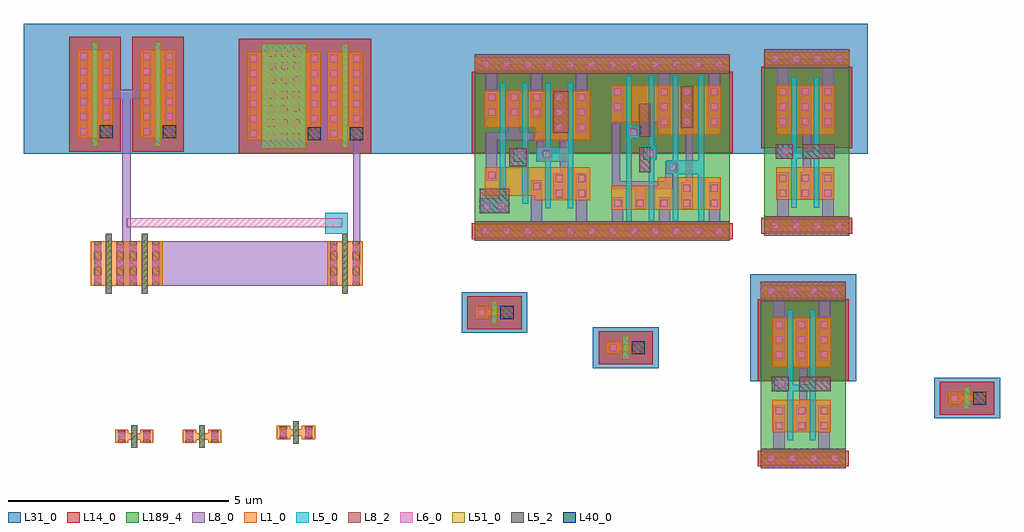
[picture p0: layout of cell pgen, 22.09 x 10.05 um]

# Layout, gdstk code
import gdstk
lib = gdstk.Library(unit=1e-6, precision=1e-09)
def R(c, l, rs):  # rectangles x0, y0, x1, y1
    for r in rs: c.add(gdstk.rectangle(r[:2], r[2:], *l))
def A(c, l, x, y, w, h, nx, ny, dx, dy):  # array of equal rectangles
    R(c, l, [(x+i*dx, y+j*dy, x+i*dx+w, y+j*dy+h) for i in range(nx) for j in range(ny)])
def P(c, l, *ps):  # polygons
    for p in ps: c.add(gdstk.Polygon(p, *l))
L1_0 = (1, 0)
L5_0 = (5, 0)
L5_2 = (5, 2)
L6_0 = (6, 0)
L8_0 = (8, 0)
L8_2 = (8, 2)
L14_0 = (14, 0)
L31_0 = (31, 0)
L40_0 = (40, 0)
L51_0 = (51, 0)
L189_4 = (189, 4)

pmos = lib.new_cell('pmos')
R(pmos, L1_0, [(0,0,0.3,0.3), (0,0,0.81,2), (0.51,0,0.81,0.3)])
R(pmos, L5_0, [(0.34,-0.18,0.47,2.18), (0.34,-0.18,0.47,2.18)])
A(pmos, L6_0, 0.07, 0.07, 0.16, 0.16, 1, 6, 0, 0.34)
A(pmos, L6_0, 0.58, 0.07, 0.16, 0.16, 1, 6, 0, 0.34)
R(pmos, L8_0, [(0.07,0,0.23,2), (0.07,0,0.23,2), (0.58,0,0.74,2), (0.58,0,0.74,2)])
R(pmos, L14_0, [(-0.18,-0.3,0.99,2.3)])
R(pmos, L31_0, [(-0.31,-0.31,1.12,2.31)])
R(pmos, L40_0, [(0.51,0,0.81,0.3)])
R(pmos, L51_0, [(0.34,-0.18,0.47,2.18)])
pmos.add(gdstk.Label('pmos', (0.405,1), layer=63, texttype=0))
pmos.add(gdstk.Label('pmos', (0.405,1), layer=51, texttype=0))

nmos = lib.new_cell('nmos')
R(nmos, L1_0, [(0,0,0.3,0.3), (0,0,0.81,1), (0.51,0,0.81,0.3)])
R(nmos, L5_0, [(0.34,-0.18,0.47,1.18)])
R(nmos, L5_2, [(0.34,-0.18,0.47,1.18)])
A(nmos, L6_0, 0.07, 0.07, 0.16, 0.16, 1, 3, 0, 0.35)
A(nmos, L6_0, 0.58, 0.07, 0.16, 0.16, 1, 3, 0, 0.35)
R(nmos, L8_0, [(0.07,0,0.23,1), (0.58,0,0.74,1)])
R(nmos, L8_2, [(0.07,0,0.23,1), (0.58,0,0.74,1)])
R(nmos, L51_0, [(0.34,-0.18,0.47,1.18)])
nmos.add(gdstk.Label('nmos', (0.405,0.5), layer=63, texttype=0))
nmos.add(gdstk.Label('nmos', (0.405,0.5), layer=51, texttype=0))

pmos_1 = lib.new_cell('pmos$1')
R(pmos_1, L1_0, [(0,0,0.3,0.3), (0,0,1.68,2), (1.38,0,1.68,0.3)])
R(pmos_1, L5_0, [(0.34,-0.18,1.34,2.18), (0.34,-0.18,1.34,2.18)])
A(pmos_1, L6_0, 0.07, 0.07, 0.16, 0.16, 1, 6, 0, 0.34)
A(pmos_1, L6_0, 1.45, 0.07, 0.16, 0.16, 1, 6, 0, 0.34)
R(pmos_1, L8_0, [(0.07,0,0.23,2), (0.07,0,0.23,2), (1.45,0,1.61,2), (1.45,0,1.61,2)])
R(pmos_1, L14_0, [(-0.18,-0.3,1.86,2.3)])
R(pmos_1, L31_0, [(-0.31,-0.31,1.99,2.31)])
R(pmos_1, L40_0, [(1.38,0,1.68,0.3)])
R(pmos_1, L51_0, [(0.34,-0.18,1.34,2.18)])
pmos_1.add(gdstk.Label('pmos', (0.84,1), layer=63, texttype=0))
pmos_1.add(gdstk.Label('pmos', (0.84,1), layer=51, texttype=0))

pmos_2 = lib.new_cell('pmos$2')
R(pmos_2, L1_0, [(0,0,0.3,0.3), (0.57,0,0.87,0.3), (0,0.075,0.87,0.225)])
R(pmos_2, L5_0, [(0.37,-0.105,0.5,0.405), (0.37,-0.105,0.5,0.405)])
R(pmos_2, L6_0, [(0.07,0.07,0.23,0.23), (0.64,0.07,0.8,0.23)])
R(pmos_2, L8_0, [(0.07,0.02,0.23,0.28), (0.07,0.02,0.23,0.28), (0.64,0.02,0.8,0.28), (0.64,0.02,0.8,0.28)])
R(pmos_2, L14_0, [(-0.18,-0.225,1.05,0.525)])
R(pmos_2, L31_0, [(-0.31,-0.31,1.18,0.61)])
R(pmos_2, L40_0, [(0.57,0,0.87,0.3)])
R(pmos_2, L51_0, [(0.37,-0.105,0.5,0.405)])
pmos_2.add(gdstk.Label('pmos', (0.435,0.15), layer=63, texttype=0))
pmos_2.add(gdstk.Label('pmos', (0.435,0.15), layer=51, texttype=0))

nmos_1 = lib.new_cell('nmos$1')
R(nmos_1, L1_0, [(0,0,0.3,0.3), (0.57,0,0.87,0.3), (0,0.075,0.87,0.225)])
R(nmos_1, L5_0, [(0.37,-0.105,0.5,0.405)])
R(nmos_1, L5_2, [(0.37,-0.105,0.5,0.405)])
R(nmos_1, L6_0, [(0.07,0.07,0.23,0.23), (0.64,0.07,0.8,0.23)])
R(nmos_1, L8_0, [(0.07,0.02,0.23,0.28), (0.64,0.02,0.8,0.28)])
R(nmos_1, L8_2, [(0.07,0.02,0.23,0.28), (0.64,0.02,0.8,0.28)])
R(nmos_1, L51_0, [(0.37,-0.105,0.5,0.405)])
nmos_1.add(gdstk.Label('nmos', (0.435,0.15), layer=63, texttype=0))
nmos_1.add(gdstk.Label('nmos', (0.435,0.15), layer=51, texttype=0))

sg13g2_and2_2 = lib.new_cell('sg13g2_and2_2')
R(sg13g2_and2_2, L1_0, [(0,-0.15,2.88,0.15), (0,3.63,2.88,3.93)])
P(sg13g2_and2_2, L1_0, [(1.355,0.7),(1.355,0.8),(0.225,0.8),(0.225,1.44),(2.605,1.44),(2.605,0.7)],
  [(1.355,2.06),(1.355,2.34),(0.225,2.34),(0.225,3.18),(2.605,3.18),(2.605,2.06)])
P(sg13g2_and2_2, L5_0, [(1.585,0.52),(1.585,1.57),(1.385,1.57),(1.385,1.9),(1.585,1.9),(1.585,3.36),(1.715,3.36),(1.715,1.9),(2.095,1.9),(2.095,3.36),(2.225,3.36),(2.225,0.52),(2.095,0.52),(2.095,1.57),(1.715,1.57),(1.715,0.52)],
  [(0.105,0.41),(0.105,0.73),(0.565,0.73),(0.565,3.36),(0.695,3.36),(0.695,0.73),(0.775,0.73),(0.775,0.41)],
  [(1.075,0.62),(1.075,1.57),(0.875,1.57),(0.875,1.9),(1.075,1.9),(1.075,3.36),(1.205,3.36),(1.205,0.62)])
A(sg13g2_and2_2, L6_0, 0.16, -0.08, 0.16, 0.16, 6, 1, 0.48, 0)
A(sg13g2_and2_2, L6_0, 0.295, 2.61, 0.16, 0.16, 5, 2, 0.51, 0.34)
A(sg13g2_and2_2, L6_0, 1.6, 3.7, 0.16, 0.16, 3, 1, 0.48, 0)
R(sg13g2_and2_2, L6_0, [(0.19,0.48,0.35,0.64), (0.53,0.48,0.69,0.64), (1.825,0.77,1.985,0.93), (2.335,0.77,2.495,0.93), (1.315,0.935,1.475,1.095), (1.825,1.11,1.985,1.27), (2.335,1.11,2.495,1.27), (0.295,1.18,0.455,1.34), (0.96,1.655,1.12,1.815), (1.53,1.655,1.69,1.815), (1.825,2.27,1.985,2.43), (2.335,2.27,2.495,2.43), (0.16,3.7,0.32,3.86), (0.16,3.7,0.32,3.86), (0.16,3.7,0.32,3.86), (0.64,3.7,0.8,3.86), (0.64,3.7,0.8,3.86), (1.12,3.7,1.28,3.86), (1.12,3.7,1.28,3.86), (1.6,3.7,1.76,3.86)])
R(sg13g2_and2_2, L8_0, [(0.105,0.405,0.78,0.96), (0.78,1.47,1.17,1.87)])
P(sg13g2_and2_2, L8_0, [(1.775,0.72),(1.775,1.32),(1.92,1.32),(1.92,2.22),(1.775,2.22),(1.775,3.16),(2.105,3.16),(2.105,0.72)],
  [(0,-0.22),(0,0.22),(1.265,0.22),(1.265,1.145),(1.525,1.145),(1.525,0.22),(2.285,0.22),(2.285,1.32),(2.545,1.32),(2.545,0.22),(2.88,0.22),(2.88,-0.22)],
  [(0.245,1.14),(0.245,2.24),(0.755,2.24),(0.755,3.16),(1.015,3.16),(1.015,2.24),(1.56,2.24),(1.56,1.9),(1.74,1.9),(1.74,1.57),(1.4,1.57),(1.4,2.05),(0.505,2.05),(0.505,1.14)],
  [(2.285,2.22),(2.285,3.56),(1.525,3.56),(1.525,2.56),(1.265,2.56),(1.265,3.56),(0.505,3.56),(0.505,2.56),(0.245,2.56),(0.245,3.56),(0,3.56),(0,4),(2.88,4),(2.88,3.56),(2.545,3.56),(2.545,2.22)])
R(sg13g2_and2_2, L8_2, [(0,-0.22,2.88,0.22), (0.105,0.405,0.78,0.96), (0.78,1.47,1.17,1.87), (1.775,2.22,2.105,3.16), (0,3.56,2.88,4)])
R(sg13g2_and2_2, L14_0, [(-0.07,-0.18,2.91,0.18), (-0.07,1.76,2.95,3.6)])
R(sg13g2_and2_2, L31_0, [(-0.24,1.75,0.72,4.17), (-0.24,1.75,2.64,4.17), (2.16,1.75,3.12,4.17)])
R(sg13g2_and2_2, L189_4, [(0,0,2.88,3.78)])
sg13g2_and2_2.add(gdstk.Label('X', (1.995,2.73), layer=8, texttype=25))
sg13g2_and2_2.add(gdstk.Label('VSS', (1.18,0), layer=8, texttype=25))
sg13g2_and2_2.add(gdstk.Label('VDD', (1.275,3.78), layer=8, texttype=25))
sg13g2_and2_2.add(gdstk.Label('B', (0.98,1.655), layer=8, texttype=25))
sg13g2_and2_2.add(gdstk.Label('A', (0.465,0.745), layer=8, texttype=25))

sg13g2_or2_2 = lib.new_cell('sg13g2_or2_2')
R(sg13g2_or2_2, L1_0, [(0,-0.15,2.88,0.15), (0,3.63,2.88,3.93)])
P(sg13g2_or2_2, L1_0, [(1.25,2.18),(1.25,2.46),(0.2,2.46),(0.2,3.3),(2.685,3.3),(2.685,2.18)],
  [(0.2,0.48),(0.2,1.03),(1.255,1.03),(1.255,1.22),(2.685,1.22),(2.685,0.48)])
P(sg13g2_or2_2, L5_0, [(1.05,0.22),(1.05,1.615),(0.935,1.615),(0.935,1.915),(1.05,1.915),(1.05,3.525),(1.18,3.525),(1.18,1.915),(1.235,1.915),(1.235,1.615),(1.18,1.615),(1.18,0.22)],
  [(0.54,0.22),(0.54,3.52),(0.67,3.52),(0.67,2.39),(0.87,2.39),(0.87,2.09),(0.67,2.09),(0.67,0.22)],
  [(1.595,0.22),(1.595,1.3),(1.445,1.3),(1.445,1.6),(1.595,1.6),(1.595,3.53),(1.725,3.53),(1.725,1.6),(2.175,1.6),(2.175,3.53),(2.305,3.53),(2.305,0.22),(2.175,0.22),(2.175,1.29),(1.725,1.29),(1.725,0.22)])
A(sg13g2_or2_2, L6_0, 0.16, -0.08, 0.16, 0.16, 6, 2, 0.48, 3.78)
A(sg13g2_or2_2, L6_0, 1.32, 2.39, 0.16, 0.16, 1, 3, 0, 0.34)
A(sg13g2_or2_2, L6_0, 1.84, 2.39, 0.16, 0.16, 1, 3, 0, 0.34)
A(sg13g2_or2_2, L6_0, 2.455, 2.39, 0.16, 0.16, 1, 3, 0, 0.34)
R(sg13g2_or2_2, L6_0, [(0.27,0.55,0.43,0.71), (0.78,0.55,0.94,0.71), (1.325,0.55,1.485,0.71), (1.835,0.55,1.995,0.71), (2.455,0.55,2.615,0.71), (1.835,0.89,1.995,1.05), (2.455,0.89,2.615,1.05), (1.515,1.37,1.675,1.53), (1.005,1.685,1.165,1.845), (0.635,2.16,0.795,2.32), (0.27,2.73,0.43,2.89), (0.27,3.07,0.43,3.23)])
P(sg13g2_or2_2, L8_0, [(1.785,0.5),(1.785,1.1),(1.885,1.1),(1.885,2.34),(1.79,2.34),(1.79,3.28),(2.05,3.28),(2.05,0.5)],
  [(0,-0.22),(0,0.22),(0.22,0.22),(0.22,0.76),(0.48,0.76),(0.48,0.22),(1.275,0.22),(1.275,0.76),(1.535,0.76),(1.535,0.22),(2.405,0.22),(2.405,1.1),(2.665,1.1),(2.665,0.22),(2.88,0.22),(2.88,-0.22)],
  [(0.84,1.335),(0.84,1.895),(1.215,1.895),(1.215,1.635),(1.085,1.635),(1.085,1.335)],
  [(0.73,0.5),(0.73,0.945),(0.22,0.945),(0.22,3.28),(0.48,3.28),(0.48,2.53),(0.405,2.53),(0.405,1.125),(1.425,1.125),(1.425,1.58),(1.705,1.58),(1.705,1.315),(1.595,1.315),(1.595,0.945),(0.99,0.945),(0.99,0.5)],
  [(0.585,2.13),(0.585,2.35),(0.84,2.35),(0.84,2.88),(1.085,2.88),(1.085,2.13)],
  [(1.27,2.34),(1.27,3.56),(0,3.56),(0,4),(2.88,4),(2.88,3.56),(2.665,3.56),(2.665,2.34),(2.405,2.34),(2.405,3.56),(1.53,3.56),(1.53,2.34)])
R(sg13g2_or2_2, L8_2, [(0,-0.22,2.88,0.22), (0.84,1.335,1.085,1.895), (0.84,2.13,1.085,2.88), (1.79,2.34,2.05,3.28), (0,3.56,2.88,4)])
R(sg13g2_or2_2, L14_0, [(-0.07,-0.18,2.95,0.18), (-0.07,1.76,2.95,3.6)])
R(sg13g2_or2_2, L31_0, [(-0.24,1.75,3.12,4.17)])
R(sg13g2_or2_2, L189_4, [(0,0,2.88,3.78)])
sg13g2_or2_2.add(gdstk.Label('B', (0.96,2.52), layer=8, texttype=25))
sg13g2_or2_2.add(gdstk.Label('VSS', (1.43,-0.005), layer=8, texttype=25))
sg13g2_or2_2.add(gdstk.Label('A', (0.96,1.68), layer=8, texttype=25))
sg13g2_or2_2.add(gdstk.Label('X', (1.92,2.52), layer=8, texttype=25))
sg13g2_or2_2.add(gdstk.Label('VDD', (1.435,3.78), layer=8, texttype=25))

sg13g2_inv_2 = lib.new_cell('sg13g2_inv_2')
R(sg13g2_inv_2, L1_0, [(0,-0.15,1.92,0.15), (0.265,0.59,1.585,1.33), (0.265,2.06,1.59,3.18), (0,3.63,1.92,3.93)])
P(sg13g2_inv_2, L5_0, [(0.605,0.41),(0.605,1.52),(0.305,1.52),(0.305,1.85),(0.605,1.85),(0.605,3.36),(0.735,3.36),(0.735,1.67),(1.115,1.67),(1.115,3.36),(1.245,3.36),(1.245,0.41),(1.115,0.41),(1.115,1.52),(0.735,1.52),(0.735,0.41)])
A(sg13g2_inv_2, L6_0, 0.335, 0.66, 0.16, 0.16, 3, 2, 0.51, 0.34)
A(sg13g2_inv_2, L6_0, 0.335, 2.27, 0.16, 0.16, 1, 3, 0, 0.34)
A(sg13g2_inv_2, L6_0, 0.845, 2.27, 0.16, 0.16, 1, 3, 0, 0.34)
A(sg13g2_inv_2, L6_0, 1.36, 2.27, 0.16, 0.16, 1, 3, 0, 0.34)
R(sg13g2_inv_2, L6_0, [(0.16,-0.08,0.32,0.08), (0.16,-0.08,0.32,0.08), (0.64,-0.08,0.8,0.08), (0.64,-0.08,0.8,0.08), (1.12,-0.08,1.28,0.08), (1.12,-0.08,1.28,0.08), (1.6,-0.08,1.76,0.08), (1.6,-0.08,1.76,0.08), (0.39,1.605,0.55,1.765), (0.16,3.7,0.32,3.86), (0.16,3.7,0.32,3.86), (0.64,3.7,0.8,3.86), (0.64,3.7,0.8,3.86), (1.12,3.7,1.28,3.86), (1.12,3.7,1.28,3.86), (1.6,3.7,1.76,3.86), (1.6,3.7,1.76,3.86)])
R(sg13g2_inv_2, L8_0, [(0.255,1.52,0.635,1.85)])
P(sg13g2_inv_2, L8_0, [(0.285,2.22),(0.285,3.56),(0,3.56),(0,4),(1.92,4),(1.92,3.56),(1.57,3.56),(1.57,2.22),(1.31,2.22),(1.31,3.56),(0.545,3.56),(0.545,2.22)],
  [(0,-0.22),(0,0.22),(0.285,0.22),(0.285,1.21),(0.545,1.21),(0.545,0.22),(1.305,0.22),(1.305,1.21),(1.565,1.21),(1.565,0.22),(1.92,0.22),(1.92,-0.22)],
  [(0.795,0.61),(0.795,1.21),(0.87,1.21),(0.87,2.22),(0.795,2.22),(0.795,3.18),(1.055,3.18),(1.055,1.85),(1.59,1.85),(1.59,1.52),(1.055,1.52),(1.055,0.61)])
R(sg13g2_inv_2, L8_2, [(0,-0.22,1.92,0.22), (0.255,1.52,0.635,1.85), (0.87,1.52,1.59,1.85), (0,3.56,1.92,4)])
R(sg13g2_inv_2, L14_0, [(-0.07,-0.18,1.99,0.18), (-0.07,1.76,1.99,3.6)])
R(sg13g2_inv_2, L31_0, [(-0.24,1.75,2.16,4.17)])
R(sg13g2_inv_2, L189_4, [(0,0,1.92,3.78)])
sg13g2_inv_2.add(gdstk.Label('VSS', (0.89,0), layer=8, texttype=25))
sg13g2_inv_2.add(gdstk.Label('VDD', (0.935,3.785), layer=8, texttype=25))
sg13g2_inv_2.add(gdstk.Label('Y', (1.44,1.68), layer=8, texttype=25))
sg13g2_inv_2.add(gdstk.Label('A', (0.48,1.68), layer=8, texttype=25))

pgen = lib.new_cell('pgen')
R(pgen, L5_0, [(0.505,4.185,1.015,4.65)])
A(pgen, L6_0, -0.795, 6.285, 0.16, 0.16, 1, 3, 0, 0.32)
A(pgen, L6_0, -0.505, 6.29, 0.16, 0.16, 1, 3, 0, 0.32)
A(pgen, L6_0, -0.235, 6.295, 0.16, 0.16, 1, 3, 0, 0.32)
R(pgen, L6_0, [(0.675,4.345,0.835,4.505), (-0.795,7.235,-0.635,7.395), (-0.505,7.24,-0.345,7.4), (-0.235,7.245,-0.075,7.405), (-0.78,7.57,-0.62,7.73), (-0.49,7.575,-0.33,7.735), (-0.22,7.58,-0.06,7.74), (-0.78,7.89,-0.62,8.05), (-0.49,7.895,-0.33,8.055), (-0.22,7.9,-0.06,8.06), (-0.78,8.18,-0.62,8.34), (-0.49,8.185,-0.33,8.345), (-0.22,8.19,-0.06,8.35)])
R(pgen, L8_0, [(-4.225,3.005,-3.76,4.005), (0.175,6.295,0.78,8.295)])
R(pgen, L31_0, [(-6.315,5.99,12.78,8.93)])
pgen.add(gdstk.FlexPath([(-3.995,7.345),(-3.995,3.005)], 0.2, ends="flush", simple_path=True, layer=8, datatype=0))  # L8_0
pgen.add(gdstk.FlexPath([(1.215,6.49),(1.215,3.78),(1.215,3.51)], 0.16, ends="flush", simple_path=True, layer=8, datatype=0))  # L8_0
pgen.add(gdstk.FlexPath([(-3.41,3.505),(0.26,3.505),(0.26,3.005)], 1, ends="flush", simple_path=True, layer=8, datatype=0))  # L8_0
pgen.add(gdstk.FlexPath([(-4.46,7.34),(-3.52,7.34),(-3.455,7.34)], 0.2, ends="flush", simple_path=True, layer=8, datatype=0))  # L8_0
pgen.add(gdstk.FlexPath([(0.89,4.43),(-3.995,4.43)], 0.2, ends="flush", simple_path=True, layer=6, datatype=0))  # L6_0
pgen.add(gdstk.Reference(pmos, (-5.115,6.34)))
pgen.add(gdstk.Reference(pmos, (-3.685,6.34)))
pgen.add(gdstk.Reference(nmos, (0.545,3.005)))
pgen.add(gdstk.Reference(pmos_1, (-1.275,6.295)))
pgen.add(gdstk.Reference(pmos_2, (3.895,2.245)))
pgen.add(gdstk.Reference(nmos_1, (-0.595,-0.47)))
pgen.add(gdstk.Reference(pmos_2, (6.865,1.45)))
pgen.add(gdstk.Reference(nmos_1, (-4.255,-0.555)))
pgen.add(gdstk.Reference(nmos_1, (-2.72,-0.555)))
pgen.add(gdstk.Reference(pmos_2, (14.59,0.31)))
pgen.add(gdstk.Reference(pmos, (0.55,6.295)))
pgen.add(gdstk.Reference(sg13g2_and2_2, (3.89,4.24)))
pgen.add(gdstk.Reference(sg13g2_or2_2, (6.77,4.24)))
pgen.add(gdstk.Reference(sg13g2_inv_2, (10.44,4.36)))
pgen.add(gdstk.Reference(sg13g2_inv_2, (10.355,-0.905)))
pgen.add(gdstk.Reference(nmos, (-3.99,3.005)))
pgen.add(gdstk.Reference(nmos, (-4.8,3.005)))

lib.write_gds('pgen.gds')
